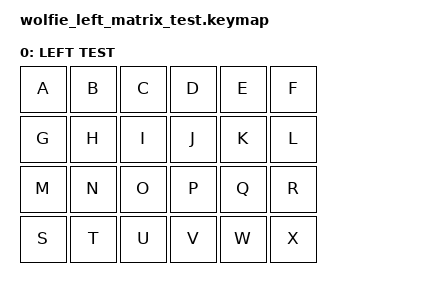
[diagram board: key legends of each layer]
#include <behaviors.dtsi>
#include <dt-bindings/zmk/keys.h>

/*
 * LEFT ONLY DIAGNOSTIC: literal matrix scanning order, NOT QWERTY.
 * Matrix row 0: A B C D E F
 * Matrix row 1: G H I J K L
 * Matrix row 2: M N O P Q R
 * Matrix row 3: S T U V W X
 * Two of the 24 grid positions are physically empty. Left column
 * colours are mirrored; record actual output before remapping.
 */
/ {
    keymap {
        compatible = "zmk,keymap";
        default_layer {
            display-name = "LEFT TEST";
            bindings = <
                &kp A &kp B &kp C &kp D &kp E &kp F
                &kp G &kp H &kp I &kp J &kp K &kp L
                &kp M &kp N &kp O &kp P &kp Q &kp R
                &kp S &kp T &kp U &kp V &kp W &kp X
            >;
        };
    };
};
